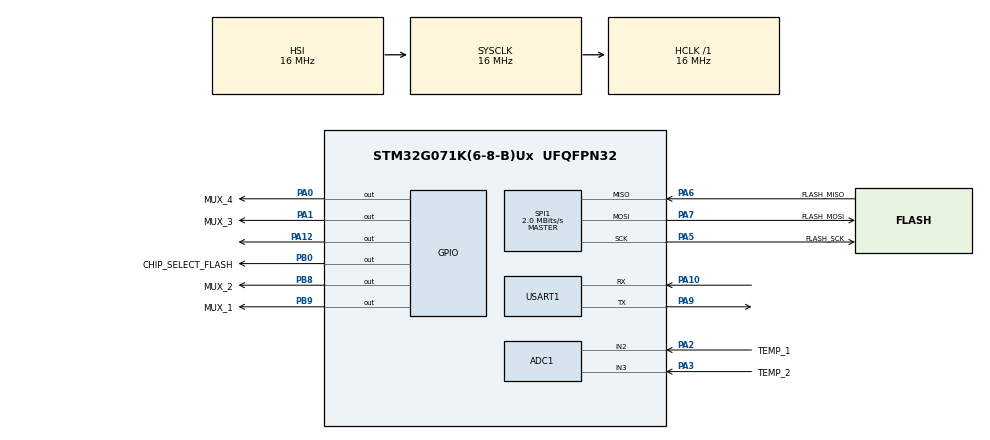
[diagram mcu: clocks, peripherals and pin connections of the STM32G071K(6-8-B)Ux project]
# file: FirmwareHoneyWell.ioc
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ADC1.Channel-0\#ChannelRegularConversion=ADC_CHANNEL_2
ADC1.Channel-1\#ChannelRegularConversion=ADC_CHANNEL_3
ADC1.Channel-2\#ChannelRegularConversion=ADC_CHANNEL_TEMPSENSOR
ADC1.ClockPrescaler=ADC_CLOCK_ASYNC_DIV1
ADC1.ContinuousConvMode=ENABLE
ADC1.DMAContinuousRequests=ENABLE
ADC1.EnableAnalogWatchDog1=false
ADC1.NbrOfConversion=3
ADC1.NbrOfConversionFlag=1
ADC1.Rank-0\#ChannelRegularConversion=1
ADC1.Rank-1\#ChannelRegularConversion=2
ADC1.Rank-2\#ChannelRegularConversion=3
ADC1.SamplingTime-0\#ChannelRegularConversion=ADC_SAMPLINGTIME_COMMON_1
ADC1.SamplingTime-1\#ChannelRegularConversion=ADC_SAMPLINGTIME_COMMON_1
ADC1.SamplingTime-2\#ChannelRegularConversion=ADC_SAMPLINGTIME_COMMON_1
ADC1.SamplingTimeCommon1=ADC_SAMPLETIME_160CYCLES_5
ADC1.SamplingTimeCommon2=ADC_SAMPLETIME_160CYCLES_5
ADC1.SelectedChannel=ADC_CHANNEL_2|ADC_CHANNEL_3|ADC_CHANNEL_TEMPSENSOR
ADC1.master=1
Dma.ADC1.0.Direction=DMA_PERIPH_TO_MEMORY
Dma.ADC1.0.EventEnable=DISABLE
Dma.ADC1.0.Instance=DMA1_Channel1
Dma.ADC1.0.MemDataAlignment=DMA_MDATAALIGN_HALFWORD
Dma.ADC1.0.MemInc=DMA_MINC_ENABLE
Dma.ADC1.0.Mode=DMA_NORMAL
Dma.ADC1.0.PeriphDataAlignment=DMA_PDATAALIGN_HALFWORD
Dma.ADC1.0.PeriphInc=DMA_PINC_DISABLE
Dma.ADC1.0.Polarity=HAL_DMAMUX_REQ_GEN_RISING
Dma.ADC1.0.Priority=DMA_PRIORITY_LOW
Dma.ADC1.0.RequestNumber=1
Dma.ADC1.0.SignalID=NONE
Dma.ADC1.0.SyncEnable=DISABLE
Dma.ADC1.0.SyncPolarity=HAL_DMAMUX_SYNC_NO_EVENT
Dma.ADC1.0.SyncRequestNumber=1
Dma.ADC1.0.SyncSignalID=NONE
Dma.Request0=ADC1
Dma.Request1=SPI1_RX
Dma.Request2=SPI1_TX
Dma.SPI1_RX.1.Direction=DMA_PERIPH_TO_MEMORY
Dma.SPI1_RX.1.EventEnable=DISABLE
Dma.SPI1_RX.1.Instance=DMA1_Channel2
Dma.SPI1_RX.1.MemDataAlignment=DMA_MDATAALIGN_BYTE
Dma.SPI1_RX.1.MemInc=DMA_MINC_ENABLE
Dma.SPI1_RX.1.Mode=DMA_CIRCULAR
Dma.SPI1_RX.1.PeriphDataAlignment=DMA_PDATAALIGN_BYTE
Dma.SPI1_RX.1.PeriphInc=DMA_PINC_DISABLE
Dma.SPI1_RX.1.Polarity=HAL_DMAMUX_REQ_GEN_RISING
Dma.SPI1_RX.1.Priority=DMA_PRIORITY_LOW
Dma.SPI1_RX.1.RequestNumber=1
Dma.SPI1_RX.1.SignalID=NONE
Dma.SPI1_RX.1.SyncEnable=DISABLE
Dma.SPI1_RX.1.SyncPolarity=HAL_DMAMUX_SYNC_NO_EVENT
Dma.SPI1_RX.1.SyncRequestNumber=1
Dma.SPI1_RX.1.SyncSignalID=NONE
Dma.SPI1_TX.2.Direction=DMA_MEMORY_TO_PERIPH
Dma.SPI1_TX.2.EventEnable=DISABLE
Dma.SPI1_TX.2.Instance=DMA1_Channel3
Dma.SPI1_TX.2.MemDataAlignment=DMA_MDATAALIGN_BYTE
Dma.SPI1_TX.2.MemInc=DMA_MINC_ENABLE
Dma.SPI1_TX.2.Mode=DMA_CIRCULAR
Dma.SPI1_TX.2.PeriphDataAlignment=DMA_PDATAALIGN_BYTE
Dma.SPI1_TX.2.PeriphInc=DMA_PINC_DISABLE
Dma.SPI1_TX.2.Polarity=HAL_DMAMUX_REQ_GEN_RISING
Dma.SPI1_TX.2.Priority=DMA_PRIORITY_LOW
Dma.SPI1_TX.2.RequestNumber=1
Dma.SPI1_TX.2.SignalID=NONE
Dma.SPI1_TX.2.SyncEnable=DISABLE
Dma.SPI1_TX.2.SyncPolarity=HAL_DMAMUX_SYNC_NO_EVENT
Dma.SPI1_TX.2.SyncRequestNumber=1
Dma.SPI1_TX.2.SyncSignalID=NONE
Mcu.Family=STM32G0
Mcu.Name=STM32G071K(6-8-B)Ux
Mcu.Package=UFQFPN32
NVIC.ADC1_COMP_IRQn=true\:0\:0\:false\:false\:true\:true\:true\:true
NVIC.DMA1_Channel1_IRQn=true\:0\:0\:false\:false\:true\:false\:true\:true
NVIC.DMA1_Channel2_3_IRQn=true\:0\:0\:false\:false\:true\:false\:true\:true
NVIC.USART1_IRQn=true\:0\:0\:false\:false\:true\:true\:true\:true
PA0.GPIO_Label=MUX_4
PA0.Signal=GPIO_Output
PA1.GPIO_Label=MUX_3
PA1.Signal=GPIO_Output
PA10.Mode=Asynchronous
PA10.Signal=USART1_RX
PA12\ [PA10].PinState=GPIO_PIN_SET
PA12\ [PA10].Signal=GPIO_Output
PA13.Mode=Serial_Wire
PA13.Signal=SYS_SWDIO
PA14-BOOT0.Mode=Serial_Wire
PA14-BOOT0.Signal=SYS_SWCLK
PA2.GPIO_Label=TEMP_1
PA2.Mode=IN2
PA2.Signal=ADC1_IN2
PA3.GPIO_Label=TEMP_2
PA3.Mode=IN3
PA3.Signal=ADC1_IN3
PA5.GPIO_Label=FLASH_SCK
PA5.Mode=Full_Duplex_Master
PA5.Signal=SPI1_SCK
PA6.GPIO_Label=FLASH_MISO
PA6.Mode=Full_Duplex_Master
PA6.Signal=SPI1_MISO
PA7.GPIO_Label=FLASH_MOSI
PA7.Mode=Full_Duplex_Master
PA7.Signal=SPI1_MOSI
PA9.Mode=Asynchronous
PA9.Signal=USART1_TX
PB0.GPIO_Label=CHIP_SELECT_FLASH
PB0.PinState=GPIO_PIN_SET
PB0.Signal=GPIO_Output
PB8.GPIO_Label=MUX_2
PB8.PinState=GPIO_PIN_SET
PB8.Signal=GPIO_Output
PB9.GPIO_Label=MUX_1
PB9.Signal=GPIO_Output
PC14-OSC32_IN\ (PC14).Mode=LSE-External-Oscillator
PC14-OSC32_IN\ (PC14).Signal=RCC_OSC32_IN
PC15-OSC32_OUT\ (PC15).Mode=LSE-External-Oscillator
PC15-OSC32_OUT\ (PC15).Signal=RCC_OSC32_OUT
ProjectManager.HeapSize=0x200
ProjectManager.StackSize=0x400
ProjectManager.TargetToolchain=STM32CubeIDE
RCC.AHBFreq_Value=16000000
RCC.CortexFreq_Value=16000000
RCC.EXTERNAL_CLOCK_VALUE=48000
RCC.HCLKFreq_Value=16000000
RCC.HSE_VALUE=8000000
RCC.HSI_VALUE=16000000
RCC.SYSCLKFreq_VALUE=16000000
RCC.VCOOutputFreq_Value=128000000
SPI1.BaudRatePrescaler=SPI_BAUDRATEPRESCALER_8
SPI1.CalculateBaudRate=2.0 MBits/s
SPI1.DataSize=SPI_DATASIZE_8BIT
SPI1.Direction=SPI_DIRECTION_2LINES
SPI1.Mode=SPI_MODE_MASTER
SPI1.NSSPMode=SPI_NSS_PULSE_DISABLE
SPI1.VirtualType=VM_MASTER
TIM14.Prescaler=16-1
USART1.Parity=PARITY_NONE
USART1.VirtualMode-Asynchronous=VM_ASYNC
USART1.WordLength=WORDLENGTH_8B
VP_ADC1_TempSens_Input.Mode=IN-TempSens
VP_SYS_VS_DBSignals.Mode=DisableDeadBatterySignals
VP_TIM14_VS_ClockSourceINT.Mode=Enable_Timer
board=custom

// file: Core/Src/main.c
/* USER CODE BEGIN Header */
/**
  ******************************************************************************
  * @file           : main.c
  * @brief          : Main program body
  ******************************************************************************
  * @attention
  *
  * Copyright (c) 2024 STMicroelectronics.
  * All rights reserved.
  *
  * This software is licensed under terms that can be found in the LICENSE file
  * in the root directory of this software component.
  * If no LICENSE file comes with this software, it is provided AS-IS.
  *
  ******************************************************************************
  */

/* USER CODE END Header */
#include "main.h"
#include "adc.h"
#include "dma.h"
#include "spi.h"
#include "tim.h"
#include "usart.h"
#include "gpio.h"
#include "mx25r1635f.h"

/* USER CODE BEGIN Includes */
#include <string.h>
#include <stdio.h>
/* USER CODE END Includes */

/* USER CODE BEGIN PM */
#define TEMPSENSOR_CAL1_ADDR   ((uint16_t*) (0x1FFF75A8UL))
#define TEMPSENSOR_CAL2_ADDR   ((uint16_t*) (0x1FFF75CAUL))

#define MX25R1635F_PAGE_PROGRAM_CMD        0x02
#define MX25R1635F_READ_DATA_CMD           0x03
#define MX25R1635F_WRITE_DISABLE_CMD   		 0x04
#define MX25R1635F_READ_STATUS_REG_CMD     0x05
#define MX25R1635F_WRITE_ENABLE_CMD 	     0x06

#define MX25R1635F_READ_ID_CMD 						 0x9F
#define MX25R1635F_SECTOR_ERASE_CMD 			 0x20
#define MX25R1635F_CHIP_ERASE_CMD 				 0xC7
#define MX25R1635F_BLOCK_ERASE_CMD 				 0xD8

/* USER CODE END PM */

/* USER CODE BEGIN PV */
volatile uint16_t rawtxData[3];
volatile int convCompleted = 0;
volatile uint8_t rx_buffer[4]={0};
volatile uint8_t msg_received_bool = 0;
char msg[100];
int msg_length;
char spi_buffer[20];
uint8_t manufacturer_id;
uint16_t device_id;
uint8_t msg_to_read[100];
uint8_t addr;
uint8_t wip;
char msg1[] = "Hello, this is a test message to be written to flash\r\n";

uint8_t Timeout = 100;
uint8_t success[4] = {0x01, 0x01, 0x01, 0x01};

uint16_t ts_cal1;
uint16_t ts_cal2;
uint16_t ts_cal1_temp = TEMPSENSOR_CAL1_TEMP;
uint16_t ts_cal2_temp = TEMPSENSOR_CAL2_TEMP;

/* USER CODE END PV */

void SystemClock_Config(void);
/* USER CODE BEGIN PFP */
void getTemperature(uint16_t rawValue, float *temp);
void WriteToFlash(void);
void refresh_rx_buffer(void);
void MX_FLASH_WriteData(uint32_t address, uint8_t *data, uint16_t size);
void MX_FLASH_EraseSector(uint32_t sector_address);
void MX_FLASH_ReadData(uint32_t address, uint8_t *data, uint16_t size);
void MX_FLASH_EraseChip(uint32_t sector_address);
void MX_FLASH_ReadID(uint8_t *manufacturer_id, uint16_t *device_id);
/* USER CODE END PFP */

int main(void)
{
  /* USER CODE BEGIN 1 */

	// Get the calibration values
	ts_cal1 = *TEMPSENSOR_CAL1_ADDR;
	ts_cal2 = *TEMPSENSOR_CAL2_ADDR;

  /* USER CODE END 1 */

  /* MCU Configuration--------------------------------------------------------*/

  /* Reset of all peripherals, Initializes the Flash interface and the Systick. */
  HAL_Init();

  /* Configure the system clock */
  SystemClock_Config();

  /* Initialize all configured peripherals */
  MX_GPIO_Init();
  MX_DMA_Init();
  MX_ADC1_Init();
  MX_USART1_UART_Init();
  MX_SPI1_Init();
  MX_TIM14_Init();
  /* USER CODE BEGIN 2 */

//Start the timer
  HAL_TIM_Base_Start(&htim14);
//HAL SPI
//HAL_SPI_TransmitReceive(&hspi1, *tx_buffer, *rx_buffer, 10, 100); // @suppress("Avoid magic numbers")
  HAL_UART_Receive_IT(&huart1, (uint8_t*)rx_buffer, sizeof(rx_buffer));

  /* USER CODE END 2 */

  /* Infinite loop */
  /* USER CODE BEGIN WHILE */
  while (1)
  {
	 HAL_GPIO_WritePin(GPIOA, GPIO_PIN_12, GPIO_PIN_RESET);
	 //HAL_UART_Receive(&huart1, rx_buffer, sizeof(rx_buffer), 100);

	 //if(rx_buffer[0] == 0x01 || rx_buffer[0] == 0x02 || rx_buffer[0] == 0x03){
	 if (msg_received_bool == 1) {
		 switch (rx_buffer[0]) {
			case 0x01:// Connect to the device
				HAL_GPIO_WritePin(GPIOA, GPIO_PIN_12, GPIO_PIN_SET);
				if (memcmp(rx_buffer, success, sizeof(success)) == 0) {
					HAL_UART_Transmit(&huart1, (uint8_t*) rx_buffer,sizeof(rx_buffer), Timeout);
				}
				msg_received_bool = 0;

				break;
			case 0x02:// Command to start ADC conversion and send temperature data
				if (rx_buffer[1] == 0x01) {
			    // Start ADC conversion
				HAL_ADC_Start_DMA(&hadc1, (uint32_t*) rawtxData, 3);

				// Transmit raw data
				HAL_GPIO_WritePin(GPIOA, GPIO_PIN_12, GPIO_PIN_SET);

				uint16_t rawValue = rawtxData[2];// Get Temperature Value of the MCU
				float temp;
				getTemperature(rawValue, &temp);

				HAL_UART_Transmit(&huart1, (uint8_t*)rawtxData, 4, Timeout);
				HAL_UART_Transmit(&huart1, (uint8_t*) &temp, sizeof(temp), Timeout);
//				sprintf(msg,"T1 : %d, T2 : %d, T3 : %d\n", rawtxData[0], rawtxData[1], rawtxData[2]);
//				HAL_UART_Transmit(&huart1, (uint8_t*) msg, strlen(msg), Timeout);

				HAL_GPIO_WritePin(GPIOA, GPIO_PIN_12, GPIO_PIN_RESET);
				msg_received_bool = 0;

				}
				break;
			case 0x03:// Command to set up different Multiplexer Options // @suppress("Avoid magic numbers")
				switch (rx_buffer[1]){
					case 0x01:
						// Set up MUX options
						HAL_GPIO_WritePin(GPIOB, GPIO_PIN_8, GPIO_PIN_RESET); // MUX 1
						HAL_GPIO_WritePin(GPIOB, GPIO_PIN_9, GPIO_PIN_RESET); // MUX 2
						HAL_GPIO_WritePin(GPIOA, GPIO_PIN_0, GPIO_PIN_SET);// MUX 3
						HAL_GPIO_WritePin(GPIOA, GPIO_PIN_1, GPIO_PIN_SET); // MUX 4
						// Prepare response
						HAL_GPIO_WritePin(GPIOA, GPIO_PIN_12, GPIO_PIN_SET);
						HAL_UART_Transmit(&huart1, (uint8_t*) success, 1, Timeout);
						msg_received_bool = 0;

						break;

					case 0x02:
						HAL_GPIO_WritePin(GPIOB, GPIO_PIN_8, GPIO_PIN_RESET); // MUX 1
						HAL_GPIO_WritePin(GPIOB, GPIO_PIN_9, GPIO_PIN_RESET); // MUX 2
						HAL_GPIO_WritePin(GPIOA, GPIO_PIN_0, GPIO_PIN_RESET);// MUX 3
						HAL_GPIO_WritePin(GPIOA, GPIO_PIN_1, GPIO_PIN_SET); // MUX 4
						// Prepare response
						HAL_GPIO_WritePin(GPIOA, GPIO_PIN_12, GPIO_PIN_SET);
						HAL_UART_Transmit(&huart1, (uint8_t*) success, 1, Timeout);
						msg_received_bool = 0;

						break;

					case 0x03: // @suppress("Avoid magic numbers")
						HAL_GPIO_WritePin(GPIOB, GPIO_PIN_8, GPIO_PIN_RESET); // MUX 1
						HAL_GPIO_WritePin(GPIOB, GPIO_PIN_9, GPIO_PIN_SET); // MUX 2
						HAL_GPIO_WritePin(GPIOA, GPIO_PIN_0, GPIO_PIN_SET); // MUX 3
						HAL_GPIO_WritePin(GPIOA, GPIO_PIN_1, GPIO_PIN_RESET); // MUX 4
						// Prepare response
						HAL_GPIO_WritePin(GPIOA, GPIO_PIN_12, GPIO_PIN_SET);
						HAL_UART_Transmit(&huart1, (uint8_t*) success, 1, Timeout);
						msg_received_bool = 0;

						break;

					case 0x04: // @suppress("Avoid magic numbers")
						HAL_GPIO_WritePin(GPIOB, GPIO_PIN_8, GPIO_PIN_RESET); // MUX 1
						HAL_GPIO_WritePin(GPIOB, GPIO_PIN_9, GPIO_PIN_RESET); // MUX 2
						HAL_GPIO_WritePin(GPIOA, GPIO_PIN_0, GPIO_PIN_SET); // MUX 3
						HAL_GPIO_WritePin(GPIOA, GPIO_PIN_1, GPIO_PIN_RESET); // MUX 4
						// Prepare response
						HAL_GPIO_WritePin(GPIOA, GPIO_PIN_12, GPIO_PIN_SET);
						HAL_UART_Transmit(&huart1, (uint8_t*) success, 1, Timeout);
						msg_received_bool = 0;

						break;

					case 0x05: // @suppress("Avoid magic numbers")
						HAL_GPIO_WritePin(GPIOB, GPIO_PIN_8, GPIO_PIN_SET); // MUX 1
						HAL_GPIO_WritePin(GPIOB, GPIO_PIN_9, GPIO_PIN_SET); // MUX 2
						HAL_GPIO_WritePin(GPIOA, GPIO_PIN_0, GPIO_PIN_RESET); // MUX 3
						HAL_GPIO_WritePin(GPIOA, GPIO_PIN_1, GPIO_PIN_RESET); // MUX 4
						// Prepare response
						HAL_GPIO_WritePin(GPIOA, GPIO_PIN_12, GPIO_PIN_SET);
						HAL_UART_Transmit(&huart1, (uint8_t*) success, 1, Timeout);
						msg_received_bool = 0;

						break;

					case 0x06: // @suppress("Avoid magic numbers")
						HAL_GPIO_WritePin(GPIOB, GPIO_PIN_8, GPIO_PIN_RESET); // MUX 1
						HAL_GPIO_WritePin(GPIOB, GPIO_PIN_9, GPIO_PIN_SET); // MUX 2
						HAL_GPIO_WritePin(GPIOA, GPIO_PIN_0, GPIO_PIN_RESET); // MUX 3
						HAL_GPIO_WritePin(GPIOA, GPIO_PIN_1, GPIO_PIN_RESET); // MUX 4
						// Prepare response
						HAL_GPIO_WritePin(GPIOA, GPIO_PIN_12, GPIO_PIN_SET);
						HAL_UART_Transmit(&huart1, (uint8_t*) success, 1, Timeout);
						msg_received_bool = 0;

						break;

					case 0x07: // @suppress("Avoid magic numbers")
						HAL_GPIO_WritePin(GPIOB, GPIO_PIN_8, GPIO_PIN_SET); // MUX 1
						HAL_GPIO_WritePin(GPIOB, GPIO_PIN_9, GPIO_PIN_RESET); // MUX 2
						HAL_GPIO_WritePin(GPIOA, GPIO_PIN_0, GPIO_PIN_RESET); // MUX 3
						HAL_GPIO_WritePin(GPIOA, GPIO_PIN_1, GPIO_PIN_RESET); // MUX 4
						// Prepare response
						HAL_GPIO_WritePin(GPIOA, GPIO_PIN_12, GPIO_PIN_SET);
						HAL_UART_Transmit(&huart1, (uint8_t*) success, 1, Timeout);
						msg_received_bool = 0;

						break;

					default:
						HAL_GPIO_WritePin(GPIOB, GPIO_PIN_8, GPIO_PIN_RESET); // MUX 1
						HAL_GPIO_WritePin(GPIOB, GPIO_PIN_9, GPIO_PIN_RESET); // MUX 2
						HAL_GPIO_WritePin(GPIOA, GPIO_PIN_0, GPIO_PIN_RESET); // MUX 3
						HAL_GPIO_WritePin(GPIOA, GPIO_PIN_1, GPIO_PIN_RESET); // MUX 4
						// Prepare response
						HAL_GPIO_WritePin(GPIOA, GPIO_PIN_12, GPIO_PIN_SET);
						HAL_UART_Transmit(&huart1, (uint8_t*) success, 1, Timeout);
						msg_received_bool = 0;
						break;

				}
				break;

			case 0x04:
				switch (rx_buffer[1]){
				case 0x01:
					// Read Flash Information

					// Example data to be written

					msg_length = sizeof(msg1);
					uint32_t address_to_write = 0x018000;

					// Write data to flash
					sprintf(msg, "Data written to flash: %s", msg1);
					mx25r1635f_write_data_and_wait(address_to_write, (uint8_t*)msg1, msg_length);
          HAL_GPIO_WritePin(GPIOA, GPIO_PIN_12, GPIO_PIN_SET);
					HAL_UART_Transmit(&huart1, (uint8_t*) msg, strlen(msg), Timeout);
					break;

				case 0x02:
					//Read Flash Information
					uint32_t address_to_read = 0x018000; // Start address to read data
					uint16_t size;
					size = sizeof(msg1);
					mx25r1635f_read_data(address_to_read, msg_to_read, size);
					sprintf(msg, "Data read from flash: %s\r\n", msg_to_read);
					HAL_GPIO_WritePin(GPIOA, GPIO_PIN_12, GPIO_PIN_SET);
					HAL_UART_Transmit(&huart1, (uint8_t*) msg, strlen(msg), Timeout);
					break;

				case 0x03:
					//Erase Flash Information
					uint32_t address_to_erase = 0x000000; // Start address to erase data
					MX_FLASH_EraseChip(address_to_erase);
					sprintf(msg, "Flash Erased\r\n");
					HAL_GPIO_WritePin(GPIOA, GPIO_PIN_12, GPIO_PIN_SET);
					HAL_UART_Transmit(&huart1, (uint8_t*) msg, strlen(msg), Timeout);
					break;

				case 0x04: // @suppress("Avoid magic numbers")
					//Load Flash Information
					MX_FLASH_ReadID(&manufacturer_id, &device_id);

					// Print the IDs
					sprintf(msg,"Manufacturer ID: 0x%02X\r\n", manufacturer_id);
					HAL_GPIO_WritePin(GPIOA, GPIO_PIN_12, GPIO_PIN_SET);
					HAL_UART_Transmit(&huart1, (uint8_t*) msg, strlen(msg), Timeout);
					sprintf(msg,"Device ID: 0x%04X\r\n", device_id);
					HAL_UART_Transmit(&huart1, (uint8_t*) msg, strlen(msg), Timeout);
					break;

				}

			default:
				//refresh_rx_buffer();
				msg_received_bool = 0;
				refresh_rx_buffer();

				break;
		 }
	 }

    /* USER CODE END WHILE */

    /* USER CODE BEGIN 3 */
	  // Receive data over UART

  }

  /* USER CODE END 3 */
}

void SystemClock_Config(void)
{
  RCC_OscInitTypeDef RCC_OscInitStruct = {0};
  RCC_ClkInitTypeDef RCC_ClkInitStruct = {0};

  /** Configure the main internal regulator output voltage
  */
  HAL_PWREx_ControlVoltageScaling(PWR_REGULATOR_VOLTAGE_SCALE1);

  /** Initializes the RCC Oscillators according to the specified parameters
  * in the RCC_OscInitTypeDef structure.
  */
  RCC_OscInitStruct.OscillatorType = RCC_OSCILLATORTYPE_HSI;
  RCC_OscInitStruct.HSIState = RCC_HSI_ON;
  RCC_OscInitStruct.HSIDiv = RCC_HSI_DIV1;
  RCC_OscInitStruct.HSICalibrationValue = RCC_HSICALIBRATION_DEFAULT;
  RCC_OscInitStruct.PLL.PLLState = RCC_PLL_NONE;
  if (HAL_RCC_OscConfig(&RCC_OscInitStruct) != HAL_OK)
  {
    Error_Handler();
  }

  /** Initializes the CPU, AHB and APB buses clocks
  */
  RCC_ClkInitStruct.ClockType = RCC_CLOCKTYPE_HCLK|RCC_CLOCKTYPE_SYSCLK
                              |RCC_CLOCKTYPE_PCLK1;
  RCC_ClkInitStruct.SYSCLKSource = RCC_SYSCLKSOURCE_HSI;
  RCC_ClkInitStruct.AHBCLKDivider = RCC_SYSCLK_DIV1;
  RCC_ClkInitStruct.APB1CLKDivider = RCC_HCLK_DIV1;

  if (HAL_RCC_ClockConfig(&RCC_ClkInitStruct, FLASH_LATENCY_0) != HAL_OK)
  {
    Error_Handler();
  }
}

/* USER CODE BEGIN 4 */
void HAL_ADC_ConvCpltCallback(ADC_HandleTypeDef *hadc) {
	convCompleted = 1;
	HAL_ADC_Stop_DMA(&hadc1);
}

void HAL_UART_TxCpltCallback(UART_HandleTypeDef *huart)
{
	// Transmission is complete
}

void HAL_UART_RxCpltCallback(UART_HandleTypeDef *huart) {

	// Received data is in rx_buffer
	// Process received data
	msg_received_bool = 1;
	HAL_UART_Receive_IT(&huart1, (uint8_t*) rx_buffer, sizeof(rx_buffer));

}

void refresh_rx_buffer() {
	memset(rx_buffer, 0, sizeof(rx_buffer));
}

void getTemperature(uint16_t rawValue, float *temp) {
	// Calculate temperature
	float difference =((float) rawValue - (float) ts_cal1);
	float slope = (((float) ts_cal2_temp -(float) ts_cal1_temp)/((float) ts_cal2 - (float) ts_cal1));
	float offset = (float) ts_cal1_temp;
	*temp = (difference * slope) + offset;
}

void MX_FLASH_WriteData(uint32_t address, uint8_t *data, uint16_t size) {
    // Enable write operation
    HAL_GPIO_WritePin(CHIP_SELECT_FLASH_GPIO_Port, CHIP_SELECT_FLASH_Pin, GPIO_PIN_RESET); // CS low)

    // Send write enable command
    uint8_t cmd_enable_write = MX25R1635F_WRITE_ENABLE_CMD;
    HAL_SPI_Transmit(&hspi1, &cmd_enable_write, 1, HAL_MAX_DELAY);

    // Write data
    uint8_t cmd_write_data[4];
    cmd_write_data[0] = MX25R1635F_PAGE_PROGRAM_CMD;
    cmd_write_data[1] = (address >> 16) & 0xFF;
    cmd_write_data[2] = (address >> 8) & 0xFF;
    cmd_write_data[3] = address & 0xFF;
    HAL_SPI_Transmit(&hspi1, cmd_write_data, 4, HAL_MAX_DELAY);
    HAL_SPI_Transmit(&hspi1, data, size, HAL_MAX_DELAY);

    // Disable write operation
    HAL_GPIO_WritePin(CHIP_SELECT_FLASH_GPIO_Port, CHIP_SELECT_FLASH_Pin, GPIO_PIN_SET); // CS high
}

//Erase flash sector
void MX_FLASH_EraseSector(uint32_t sector_address) {
    // Enable write operation
    HAL_GPIO_WritePin(CHIP_SELECT_FLASH_GPIO_Port, CHIP_SELECT_FLASH_Pin, GPIO_PIN_RESET); // CS low)

    // Send write enable command
    uint8_t cmd_enable_write = MX25R1635F_WRITE_ENABLE_CMD;
    HAL_SPI_Transmit(&hspi1, &cmd_enable_write, 1, HAL_MAX_DELAY);

    // Send sector erase command
    uint8_t cmd_erase_sector[4];
    cmd_erase_sector[0] = MX25R1635F_SECTOR_ERASE_CMD;
    cmd_erase_sector[1] = (sector_address >> 16) & 0xFF;
    cmd_erase_sector[2] = (sector_address >> 8) & 0xFF;
    cmd_erase_sector[3] = sector_address & 0xFF;
    HAL_SPI_Transmit(&hspi1, cmd_erase_sector, 4, HAL_MAX_DELAY);

    // Disable write operation
    HAL_GPIO_WritePin(CHIP_SELECT_FLASH_GPIO_Port, CHIP_SELECT_FLASH_Pin, GPIO_PIN_SET); // CS low

    uint8_t wip=1;

    uint8_t read_status_register_command = MX25R1635F_READ_STATUS_REG_CMD;

    while(wip==1){
      HAL_GPIO_WritePin(CHIP_SELECT_FLASH_GPIO_Port, CHIP_SELECT_FLASH_Pin,
                        GPIO_PIN_RESET);
      HAL_SPI_Transmit(&hspi1, &read_status_register_command, 1, Timeout);
      HAL_SPI_Receive(&hspi1, (uint8_t*)msg, 1, Timeout);
      HAL_GPIO_WritePin(CHIP_SELECT_FLASH_GPIO_Port, CHIP_SELECT_FLASH_Pin,
                        GPIO_PIN_SET);

      //Check if Write in Progress
      wip = msg[0] & 0x01;
    }

}

//Erase Chip
void MX_FLASH_EraseChip(uint32_t sector_address) {
    // Enable write operation
    HAL_GPIO_WritePin(CHIP_SELECT_FLASH_GPIO_Port, CHIP_SELECT_FLASH_Pin, GPIO_PIN_RESET); // CS low)

    // Send write enable command
    uint8_t cmd_enable_write = MX25R1635F_WRITE_ENABLE_CMD;
    HAL_SPI_Transmit(&hspi1, &cmd_enable_write, 1, HAL_MAX_DELAY);

    // Send sector erase command
    uint8_t cmd_erase_sector[4];
    cmd_erase_sector[0] = MX25R1635F_CHIP_ERASE_CMD;
    cmd_erase_sector[1] = (sector_address >> 16) & 0xFF;
    cmd_erase_sector[2] = (sector_address >> 8) & 0xFF;
    cmd_erase_sector[3] = sector_address & 0xFF;
    HAL_SPI_Transmit(&hspi1, cmd_erase_sector, 4, HAL_MAX_DELAY);

    // Disable write operation
    HAL_GPIO_WritePin(CHIP_SELECT_FLASH_GPIO_Port, CHIP_SELECT_FLASH_Pin, GPIO_PIN_SET); // CS low
}

// Read data from flash
void MX_FLASH_ReadData(uint32_t address, uint8_t *data, uint16_t size) {
    // Enable read operation
    HAL_GPIO_WritePin(CHIP_SELECT_FLASH_GPIO_Port, CHIP_SELECT_FLASH_Pin, GPIO_PIN_RESET); // CS low

    // Send read command
    uint8_t cmd_read_data[4];
    cmd_read_data[0] = MX25R1635F_READ_DATA_CMD;
    cmd_read_data[1] = (address >> 16) & 0xFF;
    cmd_read_data[2] = (address >> 8) & 0xFF;
    cmd_read_data[3] = address & 0xFF;
    HAL_SPI_Transmit(&hspi1, cmd_read_data, 4, HAL_MAX_DELAY);

    // Receive data
    HAL_SPI_Receive(&hspi1, data, size, HAL_MAX_DELAY);

    // Disable read operation
    HAL_GPIO_WritePin(CHIP_SELECT_FLASH_GPIO_Port, CHIP_SELECT_FLASH_Pin, GPIO_PIN_SET); // CS high
}

void MX_FLASH_ReadID(uint8_t *manufacturer_id, uint16_t *device_id) {
    // Enable read operation
    HAL_GPIO_WritePin(CHIP_SELECT_FLASH_GPIO_Port, CHIP_SELECT_FLASH_Pin, GPIO_PIN_RESET); // CS low

    // Send read ID command
    uint8_t cmd_read_id = MX25R1635F_READ_ID_CMD;
    HAL_SPI_Transmit(&hspi1, &cmd_read_id, 1, HAL_MAX_DELAY);

    // Receive manufacturer and device IDs
    HAL_SPI_Receive(&hspi1, manufacturer_id, 1, HAL_MAX_DELAY);
    HAL_SPI_Receive(&hspi1, (uint8_t*)device_id, 2, HAL_MAX_DELAY);

    // Disable read operation
    HAL_GPIO_WritePin(CHIP_SELECT_FLASH_GPIO_Port, CHIP_SELECT_FLASH_Pin, GPIO_PIN_SET); // CS high
}

void WriteToFlash() {
    // Write to flash

    uint8_t write_enable_cmd = MX25R1635F_WRITE_ENABLE_CMD;
    uint8_t read_status_register_command = MX25R1635F_READ_STATUS_REG_CMD;
    uint8_t  page_program_command = MX25R1635F_PAGE_PROGRAM_CMD;
    uint8_t  read_data_command = MX25R1635F_READ_DATA_CMD;

    // Say something
    HAL_GPIO_WritePin(GPIOA, GPIO_PIN_12, GPIO_PIN_SET);
    msg_length = sprintf(msg, "Writing to Flash\r\n");
    HAL_UART_Transmit(&huart1, (uint8_t*) msg, msg_length, Timeout);

    //Enable Write Operations

    HAL_GPIO_WritePin(CHIP_SELECT_FLASH_GPIO_Port, CHIP_SELECT_FLASH_Pin, GPIO_PIN_RESET);
    HAL_SPI_Transmit(&hspi1, &write_enable_cmd, 1, Timeout);
    HAL_GPIO_WritePin(CHIP_SELECT_FLASH_GPIO_Port, CHIP_SELECT_FLASH_Pin, GPIO_PIN_SET);

    //Read Status Register
    HAL_GPIO_WritePin(CHIP_SELECT_FLASH_GPIO_Port, CHIP_SELECT_FLASH_Pin, GPIO_PIN_RESET);
    HAL_SPI_Transmit(&hspi1, &read_status_register_command, 1, Timeout);
    HAL_SPI_Receive(&hspi1, (uint8_t*)spi_buffer, 1, Timeout);
    HAL_GPIO_WritePin(CHIP_SELECT_FLASH_GPIO_Port, CHIP_SELECT_FLASH_Pin, GPIO_PIN_SET);

    //Print out status register
    msg_length = sprintf(msg, " Status: 0x%02X\r\n",(uint8_t) spi_buffer[0]);
    HAL_UART_Transmit(&huart1, (uint8_t*) msg, msg_length, Timeout);

    //Test Write
    spi_buffer[0] = 0xAB;
    spi_buffer[1] = 0xCD;
    spi_buffer[2] = 0xEF;

    //Starting Address
    addr = 0x05;

    //Write 3 bytes starting at the given address
    HAL_GPIO_WritePin(CHIP_SELECT_FLASH_GPIO_Port, CHIP_SELECT_FLASH_Pin, GPIO_PIN_RESET);
    HAL_SPI_Transmit(&hspi1, &page_program_command, 1, Timeout);
    HAL_SPI_Transmit(&hspi1, &addr, 1, Timeout);
    HAL_SPI_Transmit(&hspi1, (uint8_t*)spi_buffer, 3, Timeout);
    HAL_GPIO_WritePin(CHIP_SELECT_FLASH_GPIO_Port, CHIP_SELECT_FLASH_Pin, GPIO_PIN_SET);

    wip = 1;
    while (wip == 1) {
        //Read Status Register
        HAL_GPIO_WritePin(CHIP_SELECT_FLASH_GPIO_Port, CHIP_SELECT_FLASH_Pin,
                          GPIO_PIN_RESET);
        HAL_SPI_Transmit(&hspi1, &read_status_register_command, 1, Timeout);
        HAL_SPI_Receive(&hspi1, (uint8_t*)spi_buffer, 1, Timeout);
        HAL_GPIO_WritePin(CHIP_SELECT_FLASH_GPIO_Port, CHIP_SELECT_FLASH_Pin,
                          GPIO_PIN_SET);

        //Check if Write in Progress
        wip = spi_buffer[0] & 0x01;
    }

    //Read the 3 bytes back
    HAL_GPIO_WritePin(CHIP_SELECT_FLASH_GPIO_Port, CHIP_SELECT_FLASH_Pin, GPIO_PIN_RESET);
    HAL_SPI_Transmit(&hspi1, &read_data_command, 1, Timeout);
    HAL_SPI_Transmit(&hspi1, &addr, 1, Timeout);
    HAL_SPI_Receive(&hspi1, (uint8_t*)spi_buffer, 3, Timeout);
    HAL_GPIO_WritePin(CHIP_SELECT_FLASH_GPIO_Port, CHIP_SELECT_FLASH_Pin, GPIO_PIN_SET);

    //Print out the 3 bytes
    msg_length = sprintf(msg, "Read: 0x%02X 0x%02X 0x%02X\r\n", spi_buffer[0], spi_buffer[1], spi_buffer[2]);
    HAL_UART_Transmit(&huart1, (uint8_t*) msg, msg_length, Timeout);

    //Read Status Register
    HAL_GPIO_WritePin(CHIP_SELECT_FLASH_GPIO_Port, CHIP_SELECT_FLASH_Pin, GPIO_PIN_RESET);
    HAL_SPI_Transmit(&hspi1, &read_status_register_command, 1, Timeout);
    HAL_SPI_Receive(&hspi1, (uint8_t*)spi_buffer, 1, Timeout);
    HAL_GPIO_WritePin(CHIP_SELECT_FLASH_GPIO_Port, CHIP_SELECT_FLASH_Pin, GPIO_PIN_SET);

    //Print out status register
    msg_length = sprintf(msg, " Status: 0x%02X",(uint8_t) spi_buffer[0]);
    HAL_UART_Transmit(&huart1, (uint8_t*) msg, msg_length, Timeout);

}

/* USER CODE END 4 */

void Error_Handler(void)
{
  __disable_irq();
  while (1)
  {
  }
}
